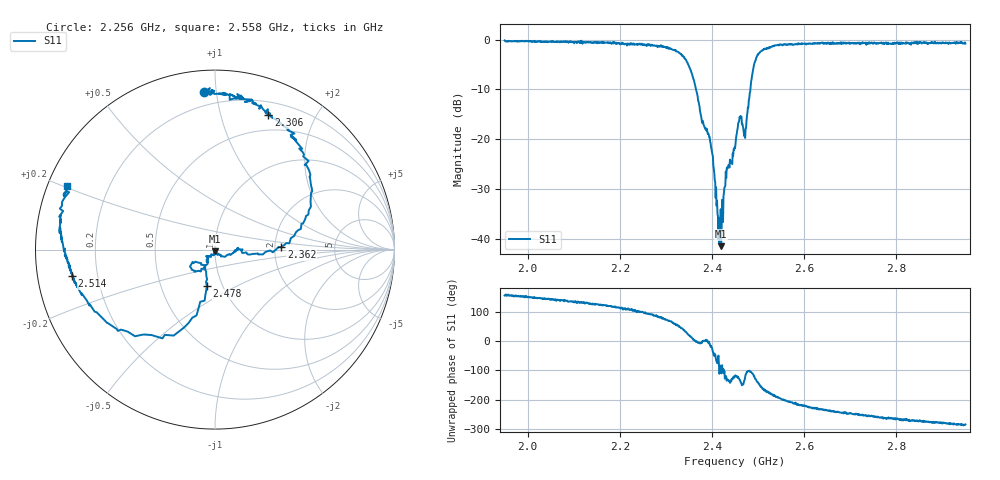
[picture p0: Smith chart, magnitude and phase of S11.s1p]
#  HZ  S  DB  R  50.0
! Rohde & Schwarz ZVL
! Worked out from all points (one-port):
!   1001 points, 1.95 GHz to 2.95 GHz, reference 50 ohm
!   lowest |S11| = -41.4 dB at 2.42 GHz (marker M1), VSWR 1.02, Z = 50 - j0.85 ohm
!   |S11| at or under -10 dB: 2.365 GHz to 2.483 GHz (118 MHz wide, 4.87 % of centre)
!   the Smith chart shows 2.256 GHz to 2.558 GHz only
!   S11 on the Smith chart (normalised r, x): 2.256 GHz: 0.12, +0.93; 2.306 GHz: 0.33, +1.42; 2.362 GHz: 2.17, +0.07; 2.478 GHz: 0.84, -0.36; 2.514 GHz: 0.11, -0.09; 2.558 GHz: 0.06, +0.21
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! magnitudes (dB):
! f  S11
! 1.95 GHz  -0.2
! 2.075 GHz  -0.5
! 2.2 GHz  -0.8
! 2.256 GHz  -1.1
! 2.306 GHz  -1.9
! 2.325 GHz  -2.4
! 2.345 GHz  -4.4
! 2.362 GHz  -8.7
! 2.379 GHz  -16.7
! 2.397 GHz  -20.7
! 2.404 GHz  -25.9
! 2.413 GHz  -35.4
! 2.416 GHz  -40.8
! 2.42 GHz  -41.4
! 2.431 GHz  -27.7
! 2.45 GHz  -21.8
! 2.459 GHz  -16.3
! 2.47 GHz  -19.3
! 2.474 GHz  -17.7
! 2.478 GHz  -13.6
! 2.487 GHz  -7.2
! 2.493 GHz  -4.5
! 2.514 GHz  -1.8
! 2.558 GHz  -1.0
! 2.575 GHz  -1.1
! 2.7 GHz  -0.7
! 2.825 GHz  -0.6
! 2.95 GHz  -0.8
